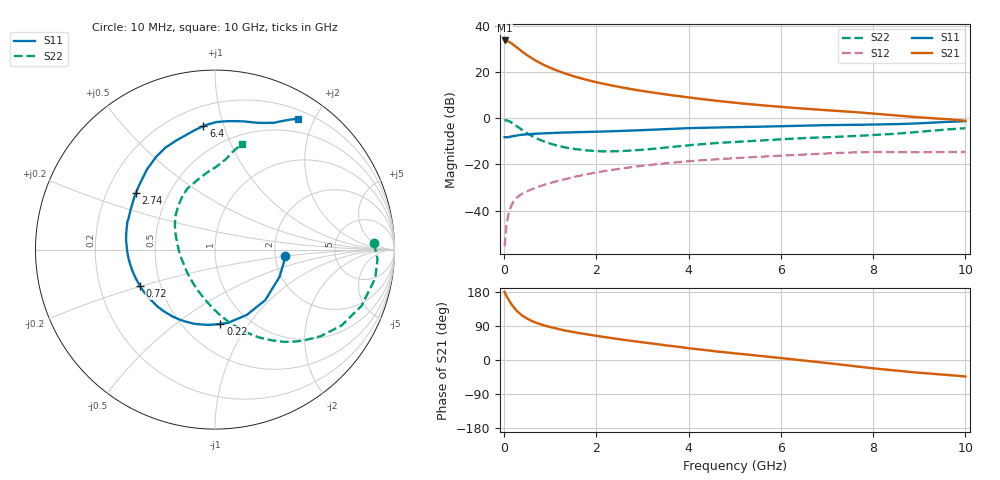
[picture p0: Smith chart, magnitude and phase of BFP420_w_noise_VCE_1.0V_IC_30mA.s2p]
! Infineon Technologies  Discrete & RF Semiconductors
! BFP420
! VCE =  1.0 V,  IC =  30 mA
! Common Emitter S-Parameters:  Jan 2016
# GHz  S  MA  R  50
!  f  S11  S21  S12  S22
! GHz  MAG  ANG  MAG  ANG  MAG  ANG  MAG  ANG
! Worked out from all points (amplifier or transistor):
!   233 points, 10 MHz to 10 GHz, reference 50 ohm
!   highest |S21| = 33.7 dB at 10 MHz (marker M1)
!   |S21| within 3 dB of that: start of sweep to 273.6 MHz
!   unconditionally stable (mu >= 1): start of sweep to 13 MHz; 1.406 GHz to end of sweep
!   at 200 MHz: K = 0.33, MSG = 34.0 dB, |S12| = -36.2 dB
!   at 1.74 GHz: K = 1.06, MAG = 19.2 dB, |S12| = -24.4 dB
!   at 10 GHz: K = 1.05, MAG = 5.3 dB, |S12| = -14.6 dB
!   lowest NFmin = 1.51 dB at 900 MHz
!   S11 on the Smith chart (normalised r, x): 10 MHz: 2.26, -0.18; 220 MHz: 0.75, -0.74; 720 MHz: 0.38, -0.20; 2.74 GHz: 0.32, +0.29; 6.4 GHz: 0.32, +0.86; 10 GHz: 0.31, +1.78
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0.01  0.3902 -4.9  48.51 179.5  0.0017 92.0  0.8858 2.2
0.02  0.3906 -10.1  47.84 176.0  0.0021 89.9  0.9069 -3.3
0.045  0.3889 -20.9  47.5 170.3  0.0043 84.2  0.9058 -9.0
0.1  0.3972 -45.2  45.78 158.4  0.0088 76.4  0.8748 -21.0
0.15  0.4048 -64.2  42.73 148.5  0.0124 70.9  0.8224 -30.9
0.2  0.4148 -80.2  39.37 140.1  0.0155 66.3  0.7616 -39.3
0.22  0.4145 -85.8  37.89 137.3  0.0165 64.7  0.7359 -42.1
0.26  0.4216 -96.3  35.2 131.5  0.0184 62.1  0.6888 -47.9
0.34  0.434 -112.8  30.44 122.3  0.0216 58.6  0.6014 -57.4
0.45  0.4463 -129.5  25.12 112.5  0.0251 55.8  0.5057 -67.8
0.6  0.4581 -145.1  19.91 102.8  0.0292 54.4  0.4129 -79.0
0.72  0.4649 -154.2  16.95 97.1  0.0323 54.3  0.361 -86.3
0.9  0.4745 -164.6  13.72 89.9  0.037 54.2  0.3053 -96.3
1.1  0.4837 -173.5  11.24 83.7  0.0423 54.3  0.2642 -106.5
1.68  0.5043 168.2  7.272 69.9  0.0583 52.5  0.2071 -134.2
2.74  0.542 144.3  4.309 50.8  0.0871 44.6  0.2001 -177.0
3.4  0.5779 132.2  3.403 40.5  0.1035 38.3  0.2268 162.6
5.1  0.6451 109.4  2.121 16.4  0.1389 22.0  0.311 132.0
6.4  0.6911 95.4  1.647 -0.1  0.1625 9.9  0.3686 115.5
6.8  0.704 91.3  1.543 -5.3  0.1698 5.8  0.382 110.3
8.4  0.7429 72.2  1.172 -27.0  0.1854 -12.4  0.4572 90.0
10  0.8656 57.5  0.884 -43.4  0.187 -24.5  0.61 75.5
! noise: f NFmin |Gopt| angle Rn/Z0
0.9  1.51  0.26  -155  0.13
1.8  1.78  0.33  -142  0.14
2.4  1.96  0.3  -136  0.18
3  1.98  0.38  -127  0.2
4  2.11  0.47  -111  0.31
5  2.57  0.53  -94  0.51
6  3  0.57  -82  0.74
